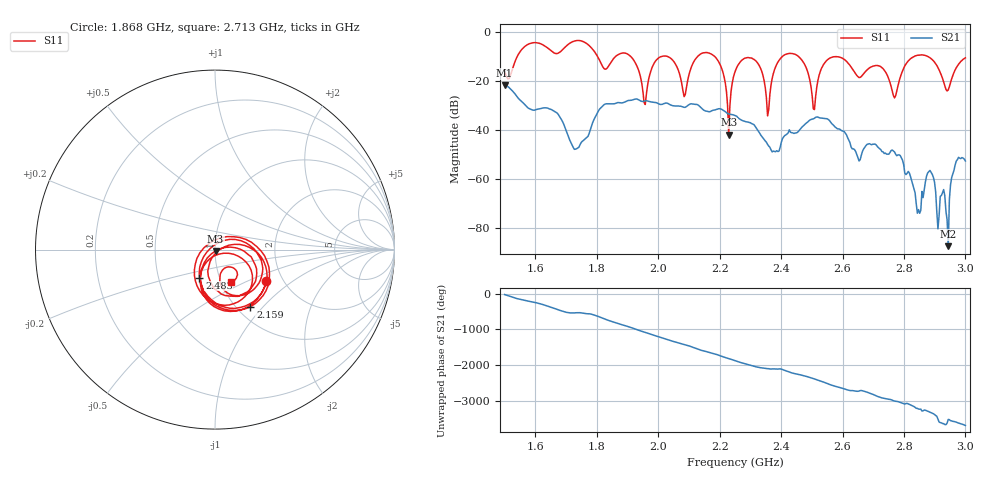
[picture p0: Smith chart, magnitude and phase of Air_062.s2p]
# HZ S RI R 50
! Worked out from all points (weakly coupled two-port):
!   404 points, 1.5 GHz to 3 GHz, reference 50 ohm
!   highest |S21| = -21.82 dB at 1.5 GHz (marker M1); lowest = -87.3 dB at 2.944 GHz (marker M2)
!   lowest |S11| = -41.9 dB at 2.23 GHz (marker M3), VSWR 1.02, Z = 50.3 - j0.727 ohm
!   |S11| at or under -10 dB: 2.183 GHz to 2.405 GHz (222.5 MHz wide, 9.7 % of centre); 2.456 GHz to 2.835 GHz (379.3 MHz wide, 14.3 % of centre); 2.876 GHz to end of sweep (the widest 3 of 7)
!   S12 and S22 are empty: the file has one direction only
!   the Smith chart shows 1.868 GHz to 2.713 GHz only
!   S11 on the Smith chart (normalised r, x): 1.868 GHz: 1.64, -0.65; 2.159 GHz: 1.15, -0.86; 2.483 GHz: 0.80, -0.26; 2.713 GHz: 1.12, -0.43
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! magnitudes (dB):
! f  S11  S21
! 1.5 GHz  -16.2  -21.8
! 1.753 GHz  -3.9  -44.6
! 1.868 GHz  -9.5  -28.9
! 1.958 GHz  -29.6  -28.1
! 2.002 GHz  -10.6  -29.4
! 2.084 GHz  -26.4  -30.8
! 2.159 GHz  -8.5  -32.4
! 2.23 GHz  -41.9  -33.5
! 2.252 GHz  -15.7  -34.2
! 2.315 GHz  -11.6  -38.4
! 2.356 GHz  -34.3  -45.9
! 2.378 GHz  -15.6  -48.7
! 2.483 GHz  -15.0  -37.1
! 2.501 GHz  -26.1  -35.6
! 2.561 GHz  -10.7  -36.7
! 2.713 GHz  -13.8  -46.8
! 2.751 GHz  -19.3  -49.9
! 2.862 GHz  -9.5  -67.5
! 2.885 GHz  -10.6  -56.5
! 2.944 GHz  -23.7  -87.3
! 2.97 GHz  -14.7  -52.7
! 3 GHz  -10.7  -52.6
